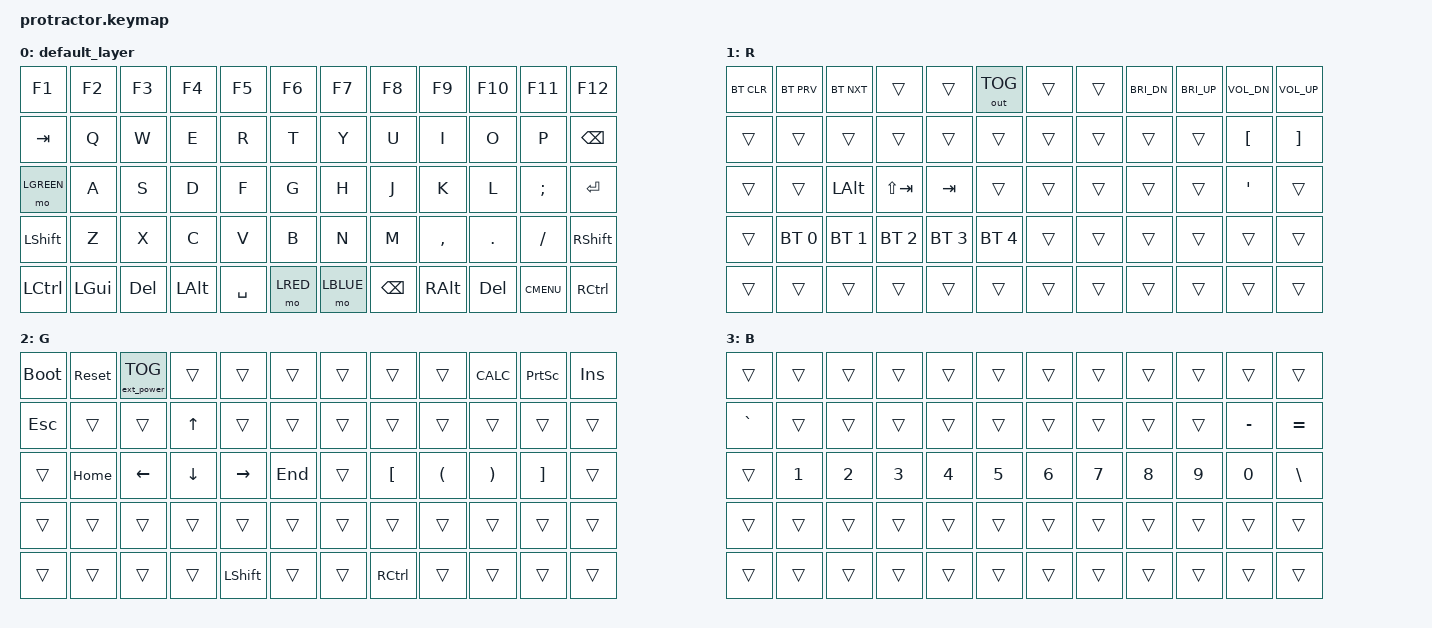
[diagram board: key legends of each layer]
#include <behaviors.dtsi>
#include <dt-bindings/zmk/keys.h>
#include <dt-bindings/zmk/bt.h>
#include <dt-bindings/zmk/outputs.h>
#include <dt-bindings/zmk/ext_power.h>

#define LRED   1
#define LGREEN 2
#define LBLUE  3

/ {
	//macros {};
	
	keymap {
		compatible = "zmk,keymap";

		/* DEFAULT
		 * ┏━━━━━━━━━┳━━━━━━━━━┳━━━━━━━━━┳━━━━━━━━━┳━━━━━━━━━┳━━━━━━━━━┳━━━━━━━━━┳━━━━━━━━━┳━━━━━━━━━┳━━━━━━━━━┳━━━━━━━━━┳━━━━━━━━━┓
		 * ┃   F1    ┃   F2    ┃   F3    ┃   F4    ┃   F5    ┃   F6    ┃   F7    ┃   F8    ┃   F9    ┃   F10   ┃   F11   ┃   F12   ┃
		 * ┣━━━━━━━━━╋━━━━━━━━━╋━━━━━━━━━╋━━━━━━━━━╋━━━━━━━━━╋━━━━━━━━━╋━━━━━━━━━╋━━━━━━━━━╋━━━━━━━━━╋━━━━━━━━━╋━━━━━━━━━╋━━━━━━━━━┫
		 * ┃   Tab   ┃    Q    ┃    W    ┃    E    ┃    R    ┃    T    ┃    Y    ┃    U    ┃    I    ┃    O    ┃    P    ┃  Bksp   ┃
		 * ┣━━━━━━━━━╋━━━━━━━━━╋━━━━━━━━━╋━━━━━━━━━╋━━━━━━━━━╋━━━━━━━━━╋━━━━━━━━━╋━━━━━━━━━╋━━━━━━━━━╋━━━━━━━━━╋━━━━━━━━━╋━━━━━━━━━┫
		 * ┃  GREEN  ┃    A    ┃    S    ┃    D    ┃    F    ┃    G    ┃    H    ┃    J    ┃    K    ┃    L    ┃    ;    ┃  Enter  ┃
		 * ┣━━━━━━━━━╋━━━━━━━━━╋━━━━━━━━━╋━━━━━━━━━╋━━━━━━━━━╋━━━━━━━━━╋━━━━━━━━━╋━━━━━━━━━╋━━━━━━━━━╋━━━━━━━━━╋━━━━━━━━━╋━━━━━━━━━┫
		 * ┃  Shift  ┃    Z    ┃    X    ┃    C    ┃    V    ┃    B    ┃    N    ┃    M    ┃    ,    ┃    .    ┃    /    ┃  Shift  ┃
		 * ┣━━━━━━━━━╋━━━━━━━━━╋━━━━━━━━━╋━━━━━━━━━╋━━━━━━━━━╋━━━━━━━━━╋━━━━━━━━━╋━━━━━━━━━╋━━━━━━━━━╋━━━━━━━━━╋━━━━━━━━━╋━━━━━━━━━┫
		 * ┃  Ctrl   ┃   GUI   ┃   Del   ┃   Alt   ┃  Space  ┃   RED   ┃  BLUE   ┃   Bksp  ┃   Alt   ┃   Del   ┃   Menu  ┃   Ctrl  ┃
		 * ┗━━━━━━━━━┻━━━━━━━━━┻━━━━━━━━━┻━━━━━━━━━┻━━━━━━━━━┻━━━━━━━━━┻━━━━━━━━━┻━━━━━━━━━┻━━━━━━━━━┻━━━━━━━━━┻━━━━━━━━━┻━━━━━━━━━┛
		*/
		
		default_layer {
			bindings = <
				&kp F1			&kp F2			&kp F3			&kp F4			&kp F5			&kp F6			&kp F7			&kp F8			&kp F9			&kp F10			&kp F11			&kp F12
				&kp TAB			&kp Q			&kp W			&kp E			&kp R			&kp T			&kp Y			&kp U			&kp I			&kp O			&kp P			&kp BSPC
				&mo LGREEN		&kp A			&kp S			&kp D			&kp F			&kp G			&kp H			&kp J			&kp K			&kp L			&kp SEMI		&kp RET
				&kp LSHFT		&kp Z			&kp X			&kp C			&kp V			&kp B			&kp N			&kp M			&kp COMMA		&kp DOT			&kp FSLH		&kp RSHFT
				&kp LCTRL		&kp LGUI		&kp DEL			&kp LALT		&kp SPACE		&mo LRED		&mo LBLUE		&kp BSPC		&kp RALT		&kp DEL			&kp K_CMENU		&kp RCTRL
			>;
		};
		
		
		/* RED
		 * ┏━━━━━━━━━┳━━━━━━━━━┳━━━━━━━━━┳━━━━━━━━━┳━━━━━━━━━┳━━━━━━━━━┳━━━━━━━━━┳━━━━━━━━━┳━━━━━━━━━┳━━━━━━━━━┳━━━━━━━━━┳━━━━━━━━━┓
		 * ┃ BT CLR  ┃ BT PRV  ┃ BT NXT  ┃         ┃         ┃ OUT_TOG ┃         ┃         ┃  BRGHT- ┃  BRGHT+ ┃   VOL-  ┃   VOL+  ┃
		 * ┣━━━━━━━━━╋━━━━━━━━━╋━━━━━━━━━╋━━━━━━━━━╋━━━━━━━━━╋━━━━━━━━━╋━━━━━━━━━╋━━━━━━━━━╋━━━━━━━━━╋━━━━━━━━━╋━━━━━━━━━╋━━━━━━━━━┫
		 * ┃         ┃         ┃         ┃         ┃         ┃         ┃         ┃         ┃         ┃         ┃    [    ┃    ]    ┃
		 * ┣━━━━━━━━━╋━━━━━━━━━╋━━━━━━━━━╋━━━━━━━━━╋━━━━━━━━━╋━━━━━━━━━╋━━━━━━━━━╋━━━━━━━━━╋━━━━━━━━━╋━━━━━━━━━╋━━━━━━━━━╋━━━━━━━━━┫
		 * ┃         ┃         ┃         ┃   Alt   ┃Shift+Tab┃   Tab   ┃         ┃         ┃         ┃         ┃    '    ┃         ┃
		 * ┣━━━━━━━━━╋━━━━━━━━━╋━━━━━━━━━╋━━━━━━━━━╋━━━━━━━━━╋━━━━━━━━━╋━━━━━━━━━╋━━━━━━━━━╋━━━━━━━━━╋━━━━━━━━━╋━━━━━━━━━╋━━━━━━━━━┫
		 * ┃         ┃  BT 0   ┃  BT 1   ┃  BT 2   ┃  BT 3   ┃  BT 4   ┃         ┃         ┃         ┃         ┃         ┃         ┃
		 * ┣━━━━━━━━━╋━━━━━━━━━╋━━━━━━━━━╋━━━━━━━━━╋━━━━━━━━━╋━━━━━━━━━╋━━━━━━━━━╋━━━━━━━━━╋━━━━━━━━━╋━━━━━━━━━╋━━━━━━━━━╋━━━━━━━━━┫
		 * ┃         ┃         ┃         ┃         ┃         ┃         ┃         ┃         ┃         ┃         ┃         ┃         ┃
		 * ┗━━━━━━━━━┻━━━━━━━━━┻━━━━━━━━━┻━━━━━━━━━┻━━━━━━━━━┻━━━━━━━━━┻━━━━━━━━━┻━━━━━━━━━┻━━━━━━━━━┻━━━━━━━━━┻━━━━━━━━━┻━━━━━━━━━┛
		*/
				
		red_layer {
			display-name = "R";
			bindings = <
				&bt BT_CLR		&bt BT_PRV		&bt BT_NXT		&trans			&trans			&out OUT_TOG	&trans			&trans			&kp C_BRI_DN	&kp C_BRI_UP	&kp C_VOL_DN	&kp C_VOL_UP
				&trans			&trans			&trans			&trans			&trans			&trans			&trans			&trans			&trans			&trans			&kp LBKT		&kp RBKT
				&trans			&trans			&kp LALT		&kp LS(TAB)		&kp TAB			&trans			&trans			&trans			&trans			&trans			&kp APOS		&trans
				&trans			&bt BT_SEL 0	&bt BT_SEL 1	&bt BT_SEL 2	&bt BT_SEL 3	&bt BT_SEL 4	&trans			&trans			&trans			&trans			&trans			&trans
				&trans			&trans			&trans			&trans			&trans			&trans			&trans			&trans			&trans			&trans			&trans			&trans
			>;
		};
		
		
		/* GREEN
		 * ┏━━━━━━━━━┳━━━━━━━━━┳━━━━━━━━━┳━━━━━━━━━┳━━━━━━━━━┳━━━━━━━━━┳━━━━━━━━━┳━━━━━━━━━┳━━━━━━━━━┳━━━━━━━━━┳━━━━━━━━━┳━━━━━━━━━┓
		 * ┃  BOOTL  ┃   RST   ┃  EP_TOG ┃         ┃         ┃         ┃         ┃         ┃         ┃  CALC   ┃ PRTSCR  ┃ Insert  ┃
		 * ┣━━━━━━━━━╋━━━━━━━━━╋━━━━━━━━━╋━━━━━━━━━╋━━━━━━━━━╋━━━━━━━━━╋━━━━━━━━━╋━━━━━━━━━╋━━━━━━━━━╋━━━━━━━━━╋━━━━━━━━━╋━━━━━━━━━┫
		 * ┃   Esc   ┃         ┃         ┃    Up   ┃         ┃         ┃         ┃         ┃         ┃         ┃         ┃         ┃
		 * ┣━━━━━━━━━╋━━━━━━━━━╋━━━━━━━━━╋━━━━━━━━━╋━━━━━━━━━╋━━━━━━━━━╋━━━━━━━━━╋━━━━━━━━━╋━━━━━━━━━╋━━━━━━━━━╋━━━━━━━━━╋━━━━━━━━━┫
		 * ┃         ┃   Home  ┃   Left  ┃   Down  ┃  Right  ┃   End   ┃         ┃    [    ┃    (    ┃    )    ┃    ]    ┃         ┃
		 * ┣━━━━━━━━━╋━━━━━━━━━╋━━━━━━━━━╋━━━━━━━━━╋━━━━━━━━━╋━━━━━━━━━╋━━━━━━━━━╋━━━━━━━━━╋━━━━━━━━━╋━━━━━━━━━╋━━━━━━━━━╋━━━━━━━━━┫
		 * ┃         ┃         ┃         ┃         ┃         ┃         ┃         ┃         ┃         ┃         ┃         ┃         ┃
		 * ┣━━━━━━━━━╋━━━━━━━━━╋━━━━━━━━━╋━━━━━━━━━╋━━━━━━━━━╋━━━━━━━━━╋━━━━━━━━━╋━━━━━━━━━╋━━━━━━━━━╋━━━━━━━━━╋━━━━━━━━━╋━━━━━━━━━┫
		 * ┃         ┃         ┃         ┃         ┃  Shift  ┃         ┃         ┃   Ctrl  ┃         ┃         ┃         ┃         ┃
		 * ┗━━━━━━━━━┻━━━━━━━━━┻━━━━━━━━━┻━━━━━━━━━┻━━━━━━━━━┻━━━━━━━━━┻━━━━━━━━━┻━━━━━━━━━┻━━━━━━━━━┻━━━━━━━━━┻━━━━━━━━━┻━━━━━━━━━┛
		*/
		
		green_layer {
			display-name = "G";
			bindings = <
				&bootloader		&sys_reset		&ext_power EP_TOG	&trans			&trans			&trans			&trans			&trans			&trans			&kp K_CALC		&kp PSCRN		&kp INSERT
				&kp ESCAPE		&trans			&trans				&kp UP			&trans			&trans			&trans			&trans			&trans			&trans			&trans			&trans
				&trans			&kp HOME		&kp LEFT			&kp DOWN		&kp RIGHT		&kp END			&trans			&kp LBKT		&kp LPAR		&kp RPAR		&kp RBKT		&trans
				&trans			&trans			&trans				&trans			&trans			&trans			&trans			&trans			&trans			&trans			&trans			&trans
				&trans			&trans			&trans				&trans			&kp LSHFT		&trans			&trans			&kp RCTRL		&trans			&trans			&trans			&trans
			>;
		};		
		
		
		/* BLUE
		 * ┏━━━━━━━━━┳━━━━━━━━━┳━━━━━━━━━┳━━━━━━━━━┳━━━━━━━━━┳━━━━━━━━━┳━━━━━━━━━┳━━━━━━━━━┳━━━━━━━━━┳━━━━━━━━━┳━━━━━━━━━┳━━━━━━━━━┓
		 * ┃         ┃         ┃         ┃         ┃         ┃         ┃         ┃         ┃         ┃         ┃         ┃         ┃
		 * ┣━━━━━━━━━╋━━━━━━━━━╋━━━━━━━━━╋━━━━━━━━━╋━━━━━━━━━╋━━━━━━━━━╋━━━━━━━━━╋━━━━━━━━━╋━━━━━━━━━╋━━━━━━━━━╋━━━━━━━━━╋━━━━━━━━━┫
		 * ┃    `    ┃         ┃         ┃         ┃         ┃         ┃         ┃         ┃         ┃         ┃    -    ┃    =    ┃
		 * ┣━━━━━━━━━╋━━━━━━━━━╋━━━━━━━━━╋━━━━━━━━━╋━━━━━━━━━╋━━━━━━━━━╋━━━━━━━━━╋━━━━━━━━━╋━━━━━━━━━╋━━━━━━━━━╋━━━━━━━━━╋━━━━━━━━━┫
		 * ┃         ┃    1    ┃    2    ┃    3    ┃    4    ┃    5    ┃    6    ┃    7    ┃    8    ┃    9    ┃    0    ┃    \    ┃
		 * ┣━━━━━━━━━╋━━━━━━━━━╋━━━━━━━━━╋━━━━━━━━━╋━━━━━━━━━╋━━━━━━━━━╋━━━━━━━━━╋━━━━━━━━━╋━━━━━━━━━╋━━━━━━━━━╋━━━━━━━━━╋━━━━━━━━━┫
		 * ┃         ┃         ┃         ┃         ┃         ┃         ┃         ┃         ┃         ┃         ┃         ┃         ┃
		 * ┣━━━━━━━━━╋━━━━━━━━━╋━━━━━━━━━╋━━━━━━━━━╋━━━━━━━━━╋━━━━━━━━━╋━━━━━━━━━╋━━━━━━━━━╋━━━━━━━━━╋━━━━━━━━━╋━━━━━━━━━╋━━━━━━━━━┫
		 * ┃         ┃         ┃         ┃         ┃         ┃         ┃         ┃         ┃         ┃         ┃         ┃         ┃
		 * ┗━━━━━━━━━┻━━━━━━━━━┻━━━━━━━━━┻━━━━━━━━━┻━━━━━━━━━┻━━━━━━━━━┻━━━━━━━━━┻━━━━━━━━━┻━━━━━━━━━┻━━━━━━━━━┻━━━━━━━━━┻━━━━━━━━━┛
		*/		
				
		blue_layer {
			display-name = "B";
			bindings = <
				&trans			&trans			&trans			&trans			&trans			&trans			&trans			&trans			&trans			&trans			&trans			&trans
				&kp GRAVE		&trans			&trans			&trans			&trans			&trans			&trans			&trans			&trans			&trans			&kp MINUS		&kp EQUAL
				&trans			&kp N1			&kp N2			&kp N3			&kp N4			&kp N5			&kp N6			&kp N7			&kp N8			&kp N9			&kp N0			&kp BSLH
				&trans			&trans			&trans			&trans			&trans			&trans			&trans			&trans			&trans			&trans			&trans			&trans
				&trans			&trans			&trans			&trans			&trans			&trans			&trans			&trans			&trans			&trans			&trans			&trans
			>;
		};
		
		
	};
};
